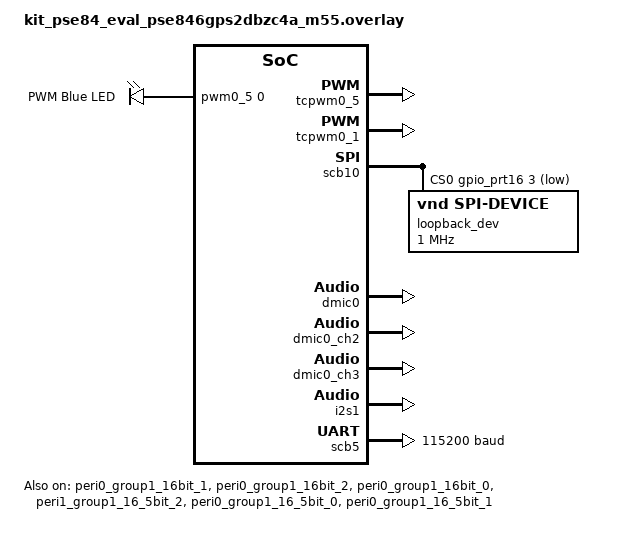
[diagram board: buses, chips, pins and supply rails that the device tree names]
/*
 * SPDX-FileCopyrightText: Copyright (c) 2026 Infineon Technologies AG,
 * SPDX-FileCopyrightText: or an affiliate of Infineon Technologies AG. All rights reserved.
 *
 * SPDX-License-Identifier: Apache-2.0
 */

#include <zephyr/dt-bindings/pwm/pwm.h>
#include <zephyr/dt-bindings/gpio/gpio.h>
#include <zephyr/dt-bindings/clock/ifx_clock_source_common.h>

/ {
	aliases {
		pwm-led0 = &pwm_led_blue;
		counter0 = &counter0_1;
		spi-loopback = &spi10;
		dmic0 = &dmic0;
		i2s-tx = &i2s1;
		uart-test = &uart5;
	};

	pwmleds {
		compatible = "pwm-leds";

		pwm_led_blue: pwm_led_blue {
			label = "PWM Blue LED";
			pwms = <&pwm0_5 0 PWM_MSEC(500) PWM_POLARITY_NORMAL>;
		};
	};
};

/* DeepSleep-RAM is disabled by default in the SoC devicetree so a plain
 * application only sees runtime-idle and regular DeepSleep.  This sample
 * exercises the suspend-to-RAM warm-boot path, so re-enable the state here.
 */
&deepsleep_ram {
	status = "okay";
};

/* Use blue LED (P16.5) as PWM output on TCPWM0_5.
 * During deepsleep, HF clocks stop and the PWM output freezes.
 * This provides a visual indicator of deepsleep entry.
 */
&tcpwm0_5 {
	status = "okay";

	pwm0_5: pwm0_5 {
		clocks = <&peri0_group1_16bit_1>;
		compatible = "infineon,tcpwm-pwm";
		status = "okay";
		pinctrl-0 = <&p16_5_pwm0_5>;
		pinctrl-names = "default";
	};
};

&p16_5_pwm0_5 {
	drive-push-pull;
};

&peri0_group1_16bit_1 {
	status = "okay";
	/* 400 MHz HF / 400 = 1 MHz PWM input clock.
	 * With a 32-bit counter and period = 500000, gives 2 Hz blink.
	 */
	clock-div = <400>;
};

/* Free-running 16-bit TCPWM counter used to demonstrate that the counter
 * driver's pm_action restarts the counter after regular DeepSleep.  The
 * counter stops while HF clocks are gated during DeepSleep and resumes
 * counting on wake via the device PM resume callback.
 */
&tcpwm0_1 {
	status = "okay";

	counter0_1 {
		status = "okay";
		clocks = <&peri0_group1_16bit_2>;
	};
};

&peri0_group1_16bit_2 {
	status = "okay";
	/* 400 MHz HF / 4000 = 100 kHz counter input clock. */
	clock-div = <4000>;
};

/* SPI loopback on SCB10: jumper P16.1 (MOSI) to P16.2 (MISO).
 * Exercises the SPI driver's pm_action across DeepSleep: after a regular
 * DeepSleep the SCB config is retained, and after a DeepSleep-RAM warm boot
 * the resume callback re-applies pinctrl / clock divider / CS GPIO and forces
 * the next transfer to re-init the block, so the loopback still matches.
 */
spi10: &scb10 {
	#address-cells = <1>;
	#size-cells = <0>;
	compatible = "infineon,spi";
	status = "okay";

	pinctrl-0 = <&p16_1_scb10_spi_m_mosi &p16_2_scb10_spi_m_miso &p16_0_scb10_spi_m_clk>;
	pinctrl-names = "default";
	cs-gpios = <&gpio_prt16 3 GPIO_ACTIVE_LOW>;

	/* i2c0 already uses peri0_group1_16bit_3, so use a separate divider. */
	clocks = <&peri0_group1_16bit_0>;

	loopback_dev: loopback@0 {
		compatible = "vnd,spi-device";
		reg = <0>;
		spi-max-frequency = <1000000>;
	};
};

&peri0_group1_16bit_0 {
	status = "okay";
};

&p16_1_scb10_spi_m_mosi {
	drive-strength = "full";
	drive-push-pull;
};

&p16_2_scb10_spi_m_miso {
	drive-strength = "full";
	input-enable;
};

&p16_0_scb10_spi_m_clk {
	drive-strength = "full";
	drive-push-pull;
};

/* PDM/PCM microphone on PDM3 (P8.5 clk, P8.6 data) routed through DMA0 ch0.
 * Exercises the DMIC driver's pm_action: a regular DeepSleep is refused while
 * a capture is active (so audio is never corrupted mid-stream), and a
 * DeepSleep-RAM warm boot re-initializes the PDM block via the resume
 * callback.  The DMA driver's pm_action re-enables the DMA controller on the
 * same warm-boot path so the next capture can reprogram its channel.
 */
&dmic0 {
	pinctrl-0 = <&p8_5_pdm3_pdm_clk &p8_6_pdm3_pdm_data>;
	pinctrl-names = "default";
	clocks = <&peri1_group1_16_5bit_2>;
	status = "okay";

	dmas = <&dma0 0>;
	dma-names = "rx";
};

&dmic0_ch2 {
	status = "okay";
	use-alt-io;
};

&dmic0_ch3 {
	status = "okay";
};

&dma0 {
	status = "okay";
};

&clk_hf7 {
	status = "okay";
	source-path = <IFX_CLK_HF_IN_CLKPATH3>;
};

&peri1_group1_16_5bit_2 {
	status = "okay";
	clock-div = <2>;
	div-frac-value = <7>;
};

&p8_5_pdm3_pdm_clk {
	drive-strength = "half";
	drive-push-pull;
};

&p8_6_pdm3_pdm_data {
	drive-strength = "half";
	input-enable;
};

/* I2S transmitter on TDM I2S1 (P11.0 tx_sck, P11.1 tx_fsync, P11.2 tx_sd)
 * driven by DMA0 channel 1.  Configured as controller so it generates its own
 * bit and frame clocks and can stream out without an external codec.
 *
 * Exercises the I2S driver's pm_action: a regular DeepSleep is refused while a
 * transmit stream is active (so audio is never corrupted mid-stream), and a
 * DeepSleep-RAM warm boot re-initializes the TDM block via the resume callback.
 * The DMA driver's pm_action re-enables the DMA controller on the same
 * warm-boot path so the next transfer can reprogram its channel.
 */
&i2s1 {
	pinctrl-0 = <&p11_0_tdm_i2s1_tx_sck &p11_1_tdm_i2s1_tx_fsync &p11_2_tdm_i2s1_tx_sd>;
	pinctrl-names = "default";
	clocks = <&peri0_group1_16_5bit_0>;
	status = "okay";

	dmas = <&dma0 1>;
	dma-names = "tx";
};

&peri0_group1_16_5bit_0 {
	status = "okay";
	/* 400 MHz HF / 40 = 10 MHz I2S source clock.  The driver derives the
	 * TDM bit-clock divider from this for the requested sample rate.
	 */
	clock-div = <40>;
};

&p11_0_tdm_i2s1_tx_sck {
	drive-strength = "full";
	drive-push-pull;
};

&p11_1_tdm_i2s1_tx_fsync {
	drive-strength = "full";
	drive-push-pull;
};

&p11_2_tdm_i2s1_tx_sd {
	drive-strength = "full";
	drive-push-pull;
};

/* Second UART instance on SCB5 (P17.1 TX, P17.0 RX) used purely to exercise the
 * UART driver's restricted-scope device runtime PM.  The console stays on its
 * own separate UART; this instance opts in to runtime management via the
 * zephyr,pm-device-runtime-auto property, so the interrupt-driven TX/RX enable
 * paths take a pm_device_runtime_get() reference and the disable paths drop it,
 * letting the block be runtime suspended between transfers.  poll_out() is
 * deliberately never instrumented, which is why the console UART is left
 * unmanaged.
 *
 * Loopback needs a physical jumper from P17.1 (TX) to P17.0 (RX): the SCB UART
 * driver has no internal loopback.  The interrupt-driven API is used (no DMA)
 * so this test never competes with the DMIC/I2S DMA channels.
 */
uart5: &scb5 {
	compatible = "infineon,uart";
	status = "okay";
	current-speed = <115200>;
	zephyr,pm-device-runtime-auto;

	/* The driver derives the real clock divider from the target baud, so the
	 * clock-div on the divider node below is only an initial placeholder.  A
	 * dedicated 16.5-bit channel is used so it never collides with the other
	 * peripherals in this overlay.
	 */
	clocks = <&peri0_group1_16_5bit_1>;

	pinctrl-0 = <&p17_1_scb5_uart_tx &p17_0_scb5_uart_rx>;
	pinctrl-names = "default";
};

&peri0_group1_16_5bit_1 {
	status = "okay";
};

&p17_1_scb5_uart_tx {
	drive-push-pull;
};

&p17_0_scb5_uart_rx {
	input-enable;
};
